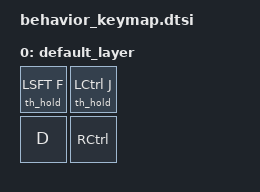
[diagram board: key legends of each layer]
#include <dt-bindings/zmk/keys.h>
#include <behaviors.dtsi>
#include <dt-bindings/zmk/kscan-mock.h>



/ {
	behaviors {
		th_hold: behavior_tap_hold_hold {
			compatible = "zmk,behavior-tap-hold";
			label = "TAP_HOLD_HOLD";
			#binding-cells = <2>;
			flavor = "hold-preferred";
			tapping_term_ms = <300>;
			bindings = <&kp>, <&kp>;
		};
	};

	keymap {
		compatible = "zmk,keymap";
		label ="Default keymap";

		default_layer {
			bindings = <
				&th_hold LSFT F &th_hold LCTL J
				&kp D &kp RCTL>;
		};
	};
};
